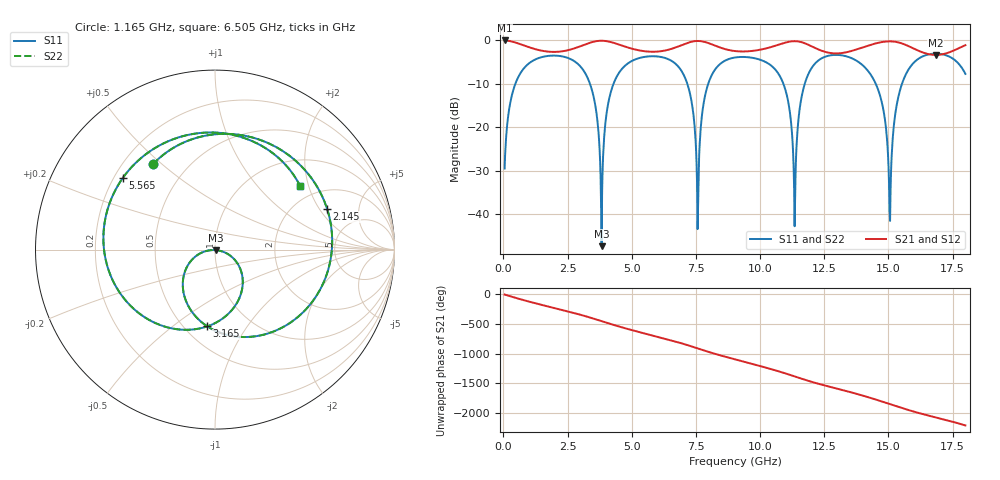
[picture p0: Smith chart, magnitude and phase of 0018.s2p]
!freq-unit  param-type  data-format  keyword  impedance-ohms
# GHZ  S  RI  R  50
!Freq  ReS11  ImS11  ReS21  ImS21  ReS12  ImS12  ReS22  ImS22
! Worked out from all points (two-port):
!   899 points, 45 MHz to 18 GHz, reference 50 ohm
!   highest |S21| = -0.01 dB at 45 MHz (marker M1); lowest = -3.3 dB at 16.84 GHz (marker M2)
!   |S21| within 3 dB of the highest: start of sweep to 16.46 GHz; 17.23 GHz to end of sweep
!   lowest |S11| = -47.4 dB at 3.825 GHz (marker M3), VSWR 1.01, Z = 50.3 - j0.289 ohm
!   |S11| at or under -10 dB: 3.372 GHz to 4.288 GHz (915.7 MHz wide, 23.9 % of centre); 7.165 GHz to 7.978 GHz (813.5 MHz wide, 10.7 % of centre); 14.51 GHz to 15.53 GHz (1.021 GHz wide, 6.8 % of centre)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
!   |S22| runs from -47.4 to -3.0 dB; largest |S21 - S12| = 0
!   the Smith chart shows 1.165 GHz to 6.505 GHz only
!   S11 on the Smith chart (normalised r, x): 1.165 GHz: 0.32, +0.47; 2.145 GHz: 2.90, +2.36; 3.165 GHz: 0.64, -0.67; 5.565 GHz: 0.24, +0.33; 6.505 GHz: 1.62, +1.76
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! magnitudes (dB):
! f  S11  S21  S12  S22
! 45 MHz  -29.5  0.0  0.0  -29.5
! 1.165 GHz  -4.6  -1.9  -1.9  -4.6
! 2.145 GHz  -3.5  -2.6  -2.6  -3.5
! 3.045 GHz  -6.3  -1.2  -1.2  -6.3
! 3.165 GHz  -7.3  -1.0  -1.0  -7.3
! 3.825 GHz  -47.4  -0.1  -0.1  -47.4
! 4.285 GHz  -10.0  -0.5  -0.5  -10.0
! 5.565 GHz  -3.7  -2.5  -2.5  -3.7
! 6.045 GHz  -3.7  -2.5  -2.5  -3.7
! 6.505 GHz  -4.6  -2.0  -2.0  -4.6
! 7.245 GHz  -11.7  -0.4  -0.4  -11.7
! 7.565 GHz  -43.4  -0.1  -0.1  -43.4
! 7.985 GHz  -9.9  -0.6  -0.6  -9.9
! 9.025 GHz  -3.9  -2.5  -2.5  -3.9
! 10.79 GHz  -8.4  -0.9  -0.9  -8.4
! 11.35 GHz  -42.8  -0.2  -0.2  -42.8
! 12.03 GHz  -6.2  -1.4  -1.4  -6.2
! 14.27 GHz  -7.5  -1.1  -1.1  -7.5
! 15.03 GHz  -32.9  -0.2  -0.2  -32.9
! 15.59 GHz  -9.1  -0.8  -0.8  -9.1
! 16.84 GHz  -3.0  -3.3  -3.3  -3.0
! 18 GHz  -7.7  -1.1  -1.1  -7.7
